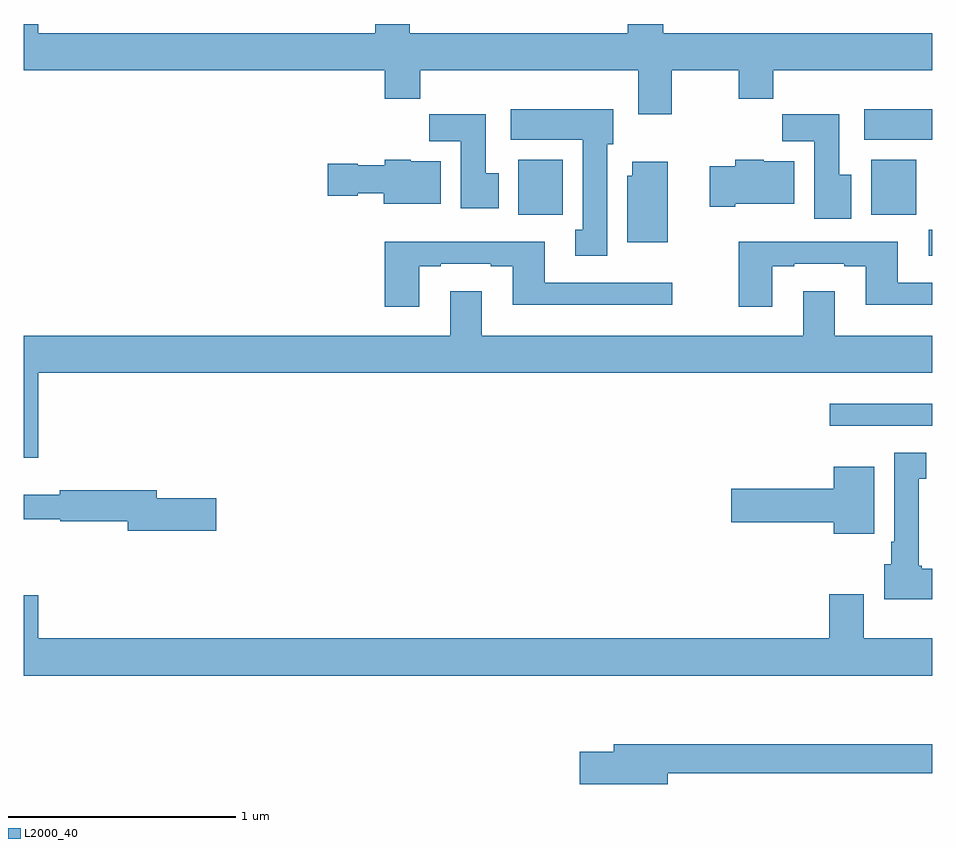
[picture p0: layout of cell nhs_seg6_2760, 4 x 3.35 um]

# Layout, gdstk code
import gdstk
lib = gdstk.Library(unit=1e-6, precision=1e-09)
def R(c, l, rs):  # rectangles x0, y0, x1, y1
    for r in rs: c.add(gdstk.rectangle(r[:2], r[2:], *l))
def P(c, l, *ps):  # polygons
    for p in ps: c.add(gdstk.Polygon(p, *l))
L2000_40 = (2000, 40)

nhs_seg6_2760 = lib.new_cell('nhs_seg6_2760')
R(nhs_seg6_2760, L2000_40, [(276.549,985.731,277,985.828), (276.983,986.481,277,986.594), (275.177,986.66,275.374,986.902), (276.731,986.66,276.928,986.902), (276.699,986.99,277,987.124)])
P(nhs_seg6_2760, L2000_40, [(275.853,987.296),(276.148,987.296),(276.148,987.172),(276.299,987.172),(276.299,987.296),(277,987.296),(277,987.46),(275.816,987.46),(275.816,987.5),(275.659,987.5),(275.659,987.46),(274.699,987.46),(274.699,987.5),(274.547,987.5),(274.547,987.46),(273.064,987.46),(273.064,987.5),(273,987.5),(273,987.296),(274.589,987.296),(274.589,987.172),(274.745,987.172),(274.745,987.296),(275.705,987.296),(275.705,987.102),(275.853,987.102)],
  [(275.569,986.97),(275.596,986.97),(275.596,987.124),(275.145,987.124),(275.145,986.99),(275.462,986.99),(275.462,986.594),(275.429,986.594),(275.429,986.481),(275.569,986.481)],
  [(275.092,986.844),(275.035,986.844),(275.035,987.103),(274.786,987.103),(274.786,986.984),(274.925,986.984),(274.925,986.688),(275.092,986.688)],
  [(276.643,986.836),(276.589,986.836),(276.589,987.103),(276.34,987.103),(276.34,986.984),(276.479,986.984),(276.479,986.643),(276.643,986.643)],
  [(276.133,986.708),(276.391,986.708),(276.391,986.896),(276.258,986.896),(276.258,986.902),(276.133,986.902),(276.133,986.874),(276.021,986.874),(276.021,986.696),(276.133,986.696)],
  [(274.837,986.896),(274.704,986.896),(274.704,986.902),(274.59,986.902),(274.59,986.878),(274.47,986.878),(274.47,986.886),(274.338,986.886),(274.338,986.744),(274.47,986.744),(274.47,986.756),(274.586,986.756),(274.586,986.708),(274.837,986.708)],
  [(275.836,986.893),(275.678,986.893),(275.678,986.832),(275.657,986.832),(275.657,986.54),(275.836,986.54)],
  [(274.741,986.433),(274.837,986.433),(274.837,986.445),(275.057,986.445),(275.057,986.433),(275.153,986.433),(275.153,986.264),(275.854,986.264),(275.854,986.361),(275.293,986.361),(275.293,986.542),(274.589,986.542),(274.589,986.256),(274.741,986.256)],
  [(276.295,986.433),(276.391,986.433),(276.391,986.445),(276.611,986.445),(276.611,986.433),(276.707,986.433),(276.707,986.264),(277,986.264),(277,986.361),(276.847,986.361),(276.847,986.541),(276.383,986.541),(276.383,986.542),(276.148,986.542),(276.148,986.256),(276.295,986.256)],
  [(273.064,985.964),(277,985.964),(277,986.128),(276.571,986.128),(276.571,986.323),(276.431,986.323),(276.431,986.128),(275.017,986.128),(275.017,986.323),(274.877,986.323),(274.877,986.128),(273,986.128),(273,985.59),(273.064,985.59)],
  [(277,985.102),(276.954,985.102),(276.954,985.116),(276.94,985.116),(276.94,985.499),(276.973,985.499),(276.973,985.612),(276.833,985.612),(276.833,985.222),(276.818,985.222),(276.818,985.122),(276.788,985.122),(276.788,984.968),(277,984.968)],
  [(276.745,985.552),(276.566,985.552),(276.566,985.454),(276.114,985.454),(276.114,985.307),(276.566,985.307),(276.566,985.256),(276.745,985.256)],
  [(273.847,985.412),(273.586,985.412),(273.586,985.448),(273.16,985.448),(273.16,985.429),(273,985.429),(273,985.32),(273.162,985.32),(273.162,985.312),(273.458,985.312),(273.458,985.27),(273.847,985.27)],
  [(277,984.796),(276.697,984.796),(276.697,984.991),(276.545,984.991),(276.545,984.796),(273.064,984.796),(273.064,984.985),(273,984.985),(273,984.632),(277,984.632)],
  [(275.836,984.202),(277,984.202),(277,984.331),(275.597,984.331),(275.597,984.297),(275.448,984.297),(275.448,984.155),(275.836,984.155)])

lib.write_gds('nhs_seg6_2760.gds')
